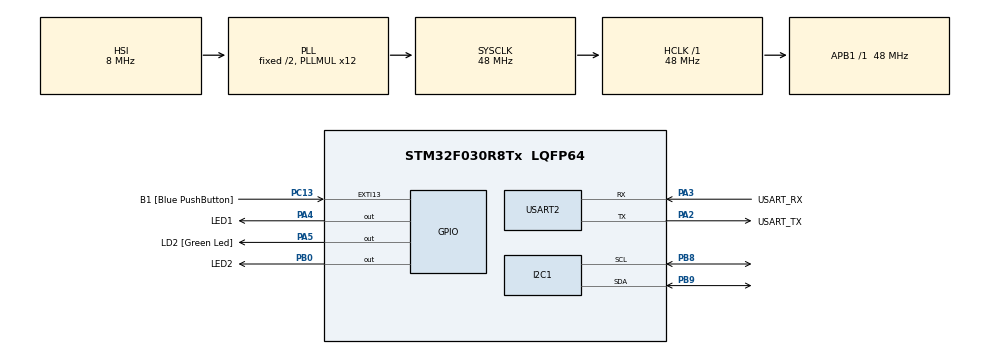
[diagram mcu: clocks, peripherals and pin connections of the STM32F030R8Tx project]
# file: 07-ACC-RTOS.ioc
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FREERTOS.Queues01=xVisualQueue,16,int16_t,0,Dynamic,NULL,NULL
FREERTOS.Tasks01=defaultTask,0,128,StartDefaultTask,Default,NULL,Dynamic,NULL,NULL;visualTask,0,128,startVisualTask,Default,NULL,Dynamic,NULL,NULL;acceleroTask,0,128,startAcceleroTask,Default,NULL,Dynamic,NULL,NULL
FREERTOS.configUSE_NEWLIB_REENTRANT=1
I2C1.Timing=0x00201D2B
Mcu.Family=STM32F0
Mcu.Name=STM32F030R8Tx
Mcu.Package=LQFP64
NVIC.TIM14_IRQn=true\:3\:0\:false\:false\:true\:false\:false\:true\:true
NVIC.TimeBase=TIM14_IRQn
NVIC.TimeBaseIP=TIM14
PA13.GPIO_Label=TMS
PA13.Mode=Serial_Wire
PA13.Signal=SYS_SWDIO
PA14.GPIO_Label=TCK
PA14.Mode=Serial_Wire
PA14.Signal=SYS_SWCLK
PA2.GPIO_Label=USART_TX
PA2.GPIO_Mode=GPIO_MODE_AF_PP
PA2.GPIO_PuPd=GPIO_NOPULL
PA2.GPIO_Speed=GPIO_SPEED_FREQ_LOW
PA2.Mode=Asynchronous
PA2.Signal=USART2_TX
PA3.GPIO_Label=USART_RX
PA3.GPIO_Mode=GPIO_MODE_AF_PP
PA3.GPIO_PuPd=GPIO_NOPULL
PA3.GPIO_Speed=GPIO_SPEED_FREQ_LOW
PA3.Mode=Asynchronous
PA3.Signal=USART2_RX
PA4.GPIO_Label=LED1
PA4.Signal=GPIO_Output
PA5.GPIO_Label=LD2 [Green Led]
PA5.GPIO_Mode=GPIO_MODE_OUTPUT_PP
PA5.GPIO_PuPd=GPIO_NOPULL
PA5.GPIO_Speed=GPIO_SPEED_FREQ_LOW
PA5.Signal=GPIO_Output
PB0.GPIO_Label=LED2
PB0.Signal=GPIO_Output
PB8.Mode=I2C
PB8.Signal=I2C1_SCL
PB9.Mode=I2C
PB9.Signal=I2C1_SDA
PC13.GPIO_Label=B1 [Blue PushButton]
PC13.GPIO_ModeDefaultEXTI=GPIO_MODE_IT_FALLING
PC13.Signal=GPXTI13
PC14-OSC32_IN.Mode=LSE-External-Oscillator
PC14-OSC32_IN.Signal=RCC_OSC32_IN
PC15-OSC32_OUT.Mode=LSE-External-Oscillator
PC15-OSC32_OUT.Signal=RCC_OSC32_OUT
PF0-OSC_IN.Mode=HSE-External-Clock-Source
PF0-OSC_IN.Signal=RCC_OSC_IN
PF1-OSC_OUT.Signal=RCC_OSC_OUT
ProjectManager.HeapSize=0x200
ProjectManager.StackSize=0x400
ProjectManager.TargetToolchain=STM32CubeIDE
RCC.AHBFreq_Value=48000000
RCC.APB1Freq_Value=48000000
RCC.APB1TimFreq_Value=48000000
RCC.HCLKFreq_Value=48000000
RCC.PLLMUL=RCC_PLL_MUL12
RCC.SYSCLKFreq_VALUE=48000000
RCC.SYSCLKSource=RCC_SYSCLKSOURCE_PLLCLK
USART2.VirtualMode-Asynchronous=VM_ASYNC
VP_FREERTOS_VS_CMSIS_V1.Mode=CMSIS_V1
VP_SYS_VS_tim14.Mode=TIM14
board=NUCLEO-F030R8

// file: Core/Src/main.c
/* USER CODE BEGIN Header */
/**
  ******************************************************************************
  * @file           : main.c
  * @brief          : Main program body
  ******************************************************************************
  * @attention
  *
  * Copyright (c) 2024 STMicroelectronics.
  * All rights reserved.
  *
  * This software is licensed under terms that can be found in the LICENSE file
  * in the root directory of this software component.
  * If no LICENSE file comes with this software, it is provided AS-IS.
  *
  ******************************************************************************
  */
/* USER CODE END Header */
#include "main.h"
#include "cmsis_os.h"

/* USER CODE BEGIN Includes */

#include "lis2dw12_reg.h"
#include <stdio.h>

/* USER CODE END Includes */

I2C_HandleTypeDef hi2c1;

UART_HandleTypeDef huart2;

osThreadId defaultTaskHandle;
osThreadId visualTaskHandle;
osThreadId acceleroTaskHandle;
osMessageQId xVisualQueueHandle;

void SystemClock_Config(void);
static void MX_GPIO_Init(void);
static void MX_USART2_UART_Init(void);
static void MX_I2C1_Init(void);
void StartDefaultTask(void const * argument);
void startVisualTask(void const * argument);
void startAcceleroTask(void const * argument);

/* USER CODE BEGIN PFP */

// kod na cvicenie
static int32_t platform_write(void *handle, uint8_t reg, uint8_t *bufp, uint16_t len);
static int32_t platform_read(void *handle, uint8_t reg, uint8_t *bufp, uint16_t len);
static stmdev_ctx_t lis2dw12 = {
 .write_reg = platform_write,
 .read_reg = platform_read,
 .handle = &hi2c1,
};

/* USER CODE END PFP */

/* USER CODE BEGIN 0 */

// kod na cvicenie
/*
* Replace the functions "platform_write" and "platform_read" with your
* platform specific read and write function.
*/
static int32_t platform_write(void *handle, uint8_t reg, uint8_t *bufp,
		uint16_t len)
{
	HAL_I2C_Mem_Write(handle, LIS2DW12_I2C_ADD_H, reg, I2C_MEMADD_SIZE_8BIT, bufp, len, 1000);
	return 0;
}

static int32_t platform_read(void *handle, uint8_t reg, uint8_t *bufp, uint16_t len)
{
	HAL_I2C_Mem_Read(handle, LIS2DW12_I2C_ADD_H, reg, I2C_MEMADD_SIZE_8BIT, bufp, len, 1000);
	return 0;
}

int _write(int file, char const *buf, int n)
{
	/* stdout redirection to UART2 */
	HAL_UART_Transmit(&huart2, (uint8_t*)(buf), n, HAL_MAX_DELAY);
	return n;
}

/* USER CODE END 0 */

int main(void)
{

  /* MCU Configuration--------------------------------------------------------*/

  /* Reset of all peripherals, Initializes the Flash interface and the Systick. */
  HAL_Init();

  /* Configure the system clock */
  SystemClock_Config();

  /* Initialize all configured peripherals */
  MX_GPIO_Init();
  MX_USART2_UART_Init();
  MX_I2C1_Init();

  /* Create the queue(s) */
  /* definition and creation of xVisualQueue */
  osMessageQDef(xVisualQueue, 16, int16_t);
  xVisualQueueHandle = osMessageCreate(osMessageQ(xVisualQueue), NULL);

  /* Create the thread(s) */
  /* definition and creation of defaultTask */
  osThreadDef(defaultTask, StartDefaultTask, osPriorityNormal, 0, 128);
  defaultTaskHandle = osThreadCreate(osThread(defaultTask), NULL);

  /* definition and creation of visualTask */
  osThreadDef(visualTask, startVisualTask, osPriorityNormal, 0, 128);
  visualTaskHandle = osThreadCreate(osThread(visualTask), NULL);

  /* definition and creation of acceleroTask */
  osThreadDef(acceleroTask, startAcceleroTask, osPriorityNormal, 0, 128);
  acceleroTaskHandle = osThreadCreate(osThread(acceleroTask), NULL);

  /* Start scheduler */
  osKernelStart();

  /* We should never get here as control is now taken by the scheduler */

  /* Infinite loop */
  while (1)
  {

  }
}

void SystemClock_Config(void)
{
  RCC_OscInitTypeDef RCC_OscInitStruct = {0};
  RCC_ClkInitTypeDef RCC_ClkInitStruct = {0};
  RCC_PeriphCLKInitTypeDef PeriphClkInit = {0};

  /** Initializes the RCC Oscillators according to the specified parameters
  * in the RCC_OscInitTypeDef structure.
  */
  RCC_OscInitStruct.OscillatorType = RCC_OSCILLATORTYPE_HSI;
  RCC_OscInitStruct.HSIState = RCC_HSI_ON;
  RCC_OscInitStruct.HSICalibrationValue = RCC_HSICALIBRATION_DEFAULT;
  RCC_OscInitStruct.PLL.PLLState = RCC_PLL_ON;
  RCC_OscInitStruct.PLL.PLLSource = RCC_PLLSOURCE_HSI;
  RCC_OscInitStruct.PLL.PLLMUL = RCC_PLL_MUL12;
  RCC_OscInitStruct.PLL.PREDIV = RCC_PREDIV_DIV1;
  if (HAL_RCC_OscConfig(&RCC_OscInitStruct) != HAL_OK)
  {
    Error_Handler();
  }

  /** Initializes the CPU, AHB and APB buses clocks
  */
  RCC_ClkInitStruct.ClockType = RCC_CLOCKTYPE_HCLK|RCC_CLOCKTYPE_SYSCLK
                              |RCC_CLOCKTYPE_PCLK1;
  RCC_ClkInitStruct.SYSCLKSource = RCC_SYSCLKSOURCE_PLLCLK;
  RCC_ClkInitStruct.AHBCLKDivider = RCC_SYSCLK_DIV1;
  RCC_ClkInitStruct.APB1CLKDivider = RCC_HCLK_DIV1;

  if (HAL_RCC_ClockConfig(&RCC_ClkInitStruct, FLASH_LATENCY_1) != HAL_OK)
  {
    Error_Handler();
  }
  PeriphClkInit.PeriphClockSelection = RCC_PERIPHCLK_I2C1;
  PeriphClkInit.I2c1ClockSelection = RCC_I2C1CLKSOURCE_HSI;
  if (HAL_RCCEx_PeriphCLKConfig(&PeriphClkInit) != HAL_OK)
  {
    Error_Handler();
  }
}

static void MX_I2C1_Init(void)
{

  hi2c1.Instance = I2C1;
  hi2c1.Init.Timing = 0x00201D2B;
  hi2c1.Init.OwnAddress1 = 0;
  hi2c1.Init.AddressingMode = I2C_ADDRESSINGMODE_7BIT;
  hi2c1.Init.DualAddressMode = I2C_DUALADDRESS_DISABLE;
  hi2c1.Init.OwnAddress2 = 0;
  hi2c1.Init.OwnAddress2Masks = I2C_OA2_NOMASK;
  hi2c1.Init.GeneralCallMode = I2C_GENERALCALL_DISABLE;
  hi2c1.Init.NoStretchMode = I2C_NOSTRETCH_DISABLE;
  if (HAL_I2C_Init(&hi2c1) != HAL_OK)
  {
    Error_Handler();
  }

  /** Configure Analogue filter
  */
  if (HAL_I2CEx_ConfigAnalogFilter(&hi2c1, I2C_ANALOGFILTER_ENABLE) != HAL_OK)
  {
    Error_Handler();
  }

  /** Configure Digital filter
  */
  if (HAL_I2CEx_ConfigDigitalFilter(&hi2c1, 0) != HAL_OK)
  {
    Error_Handler();
  }

}

static void MX_USART2_UART_Init(void)
{

  huart2.Instance = USART2;
  huart2.Init.BaudRate = 38400;
  huart2.Init.WordLength = UART_WORDLENGTH_8B;
  huart2.Init.StopBits = UART_STOPBITS_1;
  huart2.Init.Parity = UART_PARITY_NONE;
  huart2.Init.Mode = UART_MODE_TX_RX;
  huart2.Init.HwFlowCtl = UART_HWCONTROL_NONE;
  huart2.Init.OverSampling = UART_OVERSAMPLING_16;
  huart2.Init.OneBitSampling = UART_ONE_BIT_SAMPLE_DISABLE;
  huart2.AdvancedInit.AdvFeatureInit = UART_ADVFEATURE_NO_INIT;
  if (HAL_UART_Init(&huart2) != HAL_OK)
  {
    Error_Handler();
  }

}

static void MX_GPIO_Init(void)
{
  GPIO_InitTypeDef GPIO_InitStruct = {0};

  /* GPIO Ports Clock Enable */
  __HAL_RCC_GPIOC_CLK_ENABLE();
  __HAL_RCC_GPIOF_CLK_ENABLE();
  __HAL_RCC_GPIOA_CLK_ENABLE();
  __HAL_RCC_GPIOB_CLK_ENABLE();

  /*Configure GPIO pin Output Level */
  HAL_GPIO_WritePin(GPIOA, LED1_Pin|LD2_Pin, GPIO_PIN_RESET);

  /*Configure GPIO pin Output Level */
  HAL_GPIO_WritePin(LED2_GPIO_Port, LED2_Pin, GPIO_PIN_RESET);

  /*Configure GPIO pin : B1_Pin */
  GPIO_InitStruct.Pin = B1_Pin;
  GPIO_InitStruct.Mode = GPIO_MODE_IT_FALLING;
  GPIO_InitStruct.Pull = GPIO_NOPULL;
  HAL_GPIO_Init(B1_GPIO_Port, &GPIO_InitStruct);

  /*Configure GPIO pins : LED1_Pin LD2_Pin */
  GPIO_InitStruct.Pin = LED1_Pin|LD2_Pin;
  GPIO_InitStruct.Mode = GPIO_MODE_OUTPUT_PP;
  GPIO_InitStruct.Pull = GPIO_NOPULL;
  GPIO_InitStruct.Speed = GPIO_SPEED_FREQ_LOW;
  HAL_GPIO_Init(GPIOA, &GPIO_InitStruct);

  /*Configure GPIO pin : LED2_Pin */
  GPIO_InitStruct.Pin = LED2_Pin;
  GPIO_InitStruct.Mode = GPIO_MODE_OUTPUT_PP;
  GPIO_InitStruct.Pull = GPIO_NOPULL;
  GPIO_InitStruct.Speed = GPIO_SPEED_FREQ_LOW;
  HAL_GPIO_Init(LED2_GPIO_Port, &GPIO_InitStruct);

}

void StartDefaultTask(void const * argument)
{
  for(;;)
  {
    osDelay(1);
  }
}

void startVisualTask(void const * argument)
{
  /* USER CODE BEGIN startVisualTask */
  /* Infinite loop */
  for(;;)
  {
    int16_t msg;
    if (xQueueReceive(xVisualQueueHandle, &msg, portMAX_DELAY))
    {
    	if (msg < -1000)
    	{
    		HAL_GPIO_WritePin(LED1_GPIO_Port, LED1_Pin, SET);
    		HAL_GPIO_WritePin(LED2_GPIO_Port, LED2_Pin, RESET);
    	}

    	if (msg > 1000)
    	{
    		HAL_GPIO_WritePin(LED2_GPIO_Port, LED2_Pin, SET);
    		HAL_GPIO_WritePin(LED1_GPIO_Port, LED1_Pin, RESET);
    	}

    	if (msg > -1000 && msg < 1000)
    	{
    		HAL_GPIO_WritePin(LED1_GPIO_Port, LED1_Pin, RESET);
    		HAL_GPIO_WritePin(LED2_GPIO_Port, LED2_Pin, RESET);
    	}
    }

    vTaskDelay(50);	// kedze tu mam toto tak som mohol vymazat osDelay(1) na zaciatku

  }
  /* USER CODE END startVisualTask */
}

void startAcceleroTask(void const * argument)
{
  /* USER CODE BEGIN startAcceleroTask */

	// Check device ID
	uint8_t whoamI = 0;
	lis2dw12_device_id_get(&lis2dw12, &whoamI);
	printf("LIS2DW12_ID %s\n", (whoamI == LIS2DW12_ID) ? "OK" : "FAIL");

	lis2dw12_full_scale_set(&lis2dw12, LIS2DW12_2g);
	lis2dw12_power_mode_set(&lis2dw12, LIS2DW12_CONT_LOW_PWR_LOW_NOISE_2);
	lis2dw12_block_data_update_set(&lis2dw12, PROPERTY_ENABLE);
	// enable continuous FIFO
	lis2dw12_fifo_mode_set(&lis2dw12, LIS2DW12_STREAM_MODE);
	// enable part from power-down
	lis2dw12_data_rate_set(&lis2dw12, LIS2DW12_XL_ODR_25Hz);

	uint32_t lastTerminalUpdate = 0;
	uint32_t lastSend = 0;

	/* Infinite loop */
	for(;;)
	{
		osDelay(1);

		/*
		int16_t msg = 0;
		xQueueSend(xVisualQueueHandle, &msg, 0);
		vTaskDelay(300);

		msg = 5000;
		xQueueSend(xVisualQueueHandle, &msg, 0);
		vTaskDelay(300);

		msg = -5000;
		xQueueSend(xVisualQueueHandle, &msg, 0);
		vTaskDelay(300);

		msg = 0;
		xQueueSend(xVisualQueueHandle, &msg, 0);
		vTaskDelay(300);
		 */

		uint8_t samples;
		int16_t raw_acceleration[3];

		lis2dw12_fifo_data_level_get(&lis2dw12, &samples);

		for (uint8_t i = 0; i < samples; i++) {
			// Read acceleration data
			lis2dw12_acceleration_raw_get(&lis2dw12, raw_acceleration);
		}

		// namiesto HAL_GetTick() pouzit funkciu z RTOS
		if ((HAL_GetTick() - lastTerminalUpdate) > 1000)
		{
			lastTerminalUpdate = HAL_GetTick();
			printf("X=%d Y=%d Z=%d\n", raw_acceleration[0], raw_acceleration[1], raw_acceleration[2]);
		}

		if ((HAL_GetTick() - lastSend) > 50)
		{
			lastSend = HAL_GetTick();
			xQueueSend(xVisualQueueHandle, &raw_acceleration[0], 0);
		}

  }
  /* USER CODE END startAcceleroTask */
}

void HAL_TIM_PeriodElapsedCallback(TIM_HandleTypeDef *htim)
{
  if (htim->Instance == TIM14) {
    HAL_IncTick();
  }
}

void Error_Handler(void)
{
  __disable_irq();
  while (1)
  {
  }
}
